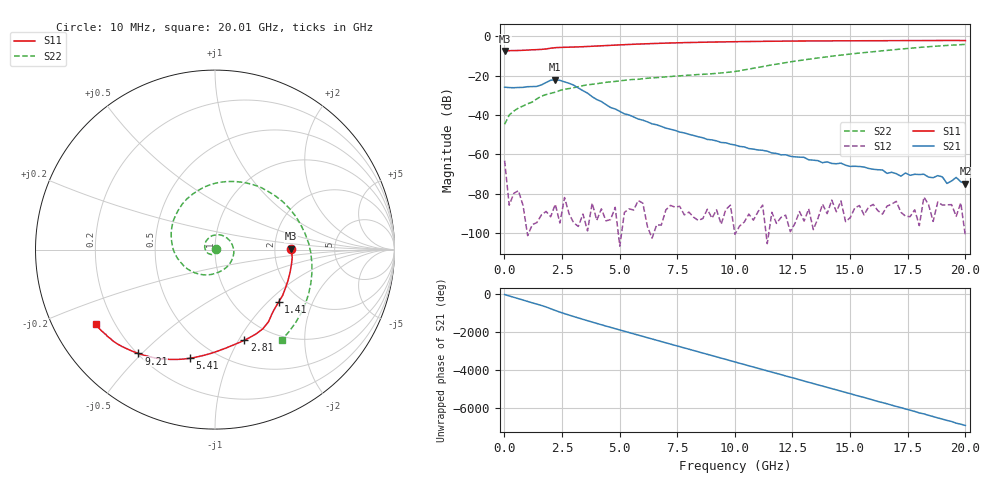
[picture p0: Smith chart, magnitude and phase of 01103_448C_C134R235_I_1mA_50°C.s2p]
!;Filter: kein Filter
!auto
!3/21/2019 9:26:39 AM
!3/21/2019 9:26:51 AM
!SP-Measurements Prober G4
!SP-Measurements Prober G4
!01103_448C
!134
!235
!12
!50
!-20
!0.00099996
!1.65
!0.05816927
!0.05816927
# Hz S  RI  R 50
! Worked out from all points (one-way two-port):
!   101 points, 10 MHz to 20.01 GHz, reference 50 ohm
!   highest |S21| = -21.99 dB at 2.21 GHz (marker M1); lowest = -75.0 dB at 20.01 GHz (marker M2)
!   lowest |S11| = -7.4 dB at 10 MHz (marker M3), VSWR 2.48, Z = 124 + j1.53 ohm
!   |S11| at or under -10 dB: nowhere
!   |S22| runs from -44.8 to -4.1 dB; largest |S21 - S12| = 0.08
!   S11 on the Smith chart (normalised r, x): 10 MHz: 2.48, +0.03; 1.41 GHz: 1.57, -1.16; 2.81 GHz: 0.75, -1.06; 5.41 GHz: 0.37, -0.73; 9.21 GHz: 0.20, -0.49; 20.01 GHz: 0.13, -0.28
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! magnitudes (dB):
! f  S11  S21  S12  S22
! 10 MHz  -7.4  -25.9  -63.2  -44.8
! 210 MHz  -7.3  -26.1  -85.9  -40.0
! 610 MHz  -7.2  -26.0  -78.5  -36.4
! 1.41 GHz  -6.8  -25.5  -94.8  -31.8
! 2.21 GHz  -5.8  -22.0  -85.4  -28.4
! 2.81 GHz  -5.5  -23.9  -90.3  -26.6
! 3.41 GHz  -5.3  -27.6  -90.4  -25.1
! 4.61 GHz  -4.6  -36.2  -93.2  -23.1
! 5.41 GHz  -4.1  -40.0  -87.7  -22.1
! 6.81 GHz  -3.5  -45.8  -96.1  -20.8
! 9.21 GHz  -2.9  -53.2  -88.3  -18.8
! 10.01 GHz  -2.7  -55.3  -100.7  -17.9
! 13.41 GHz  -2.3  -63.0  -98.3  -11.3
! 16.81 GHz  -2.2  -69.2  -85.4  -6.9
! 17.21 GHz  -2.2  -71.2  -89.5  -6.5
! 17.41 GHz  -2.2  -69.5  -91.5  -6.3
! 18.61 GHz  -2.1  -71.9  -94.2  -5.1
! 18.81 GHz  -2.1  -70.9  -84.3  -4.9
! 19.01 GHz  -2.1  -71.5  -85.8  -4.8
! 19.21 GHz  -2.1  -74.9  -85.7  -4.6
! 19.61 GHz  -2.1  -71.8  -91.6  -4.3
! 20.01 GHz  -2.1  -75.0  -101.7  -4.1
